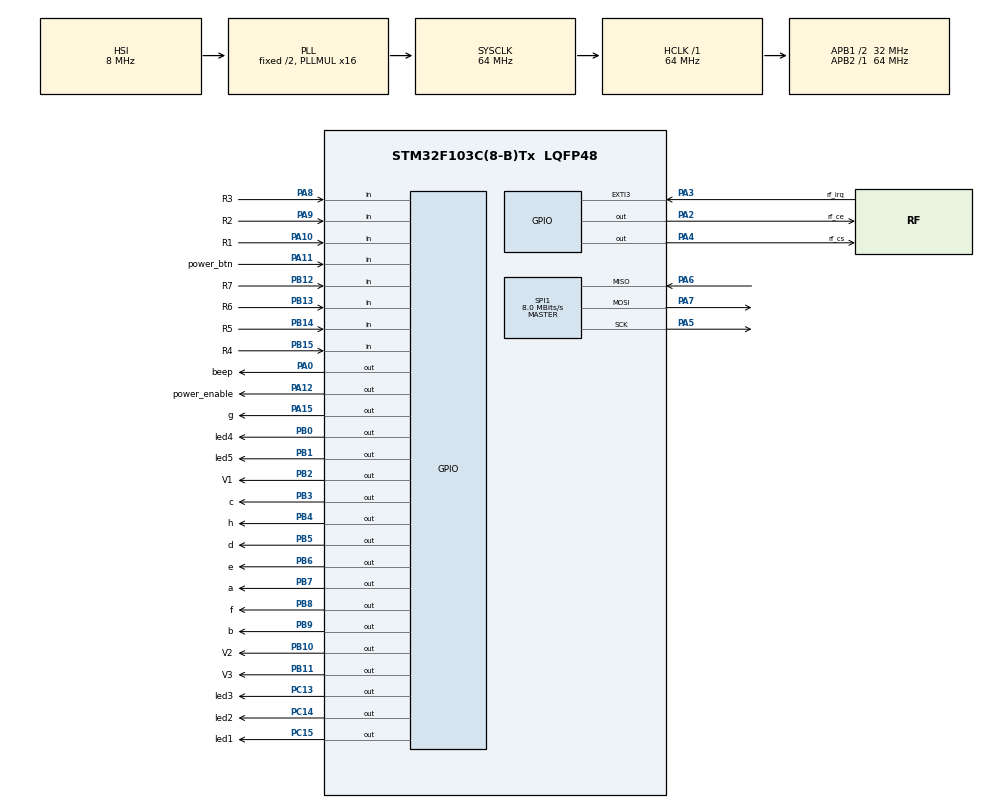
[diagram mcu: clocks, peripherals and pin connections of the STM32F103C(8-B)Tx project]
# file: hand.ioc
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Mcu.Family=STM32F1
Mcu.Name=STM32F103C(8-B)Tx
Mcu.Package=LQFP48
NVIC.EXTI3_IRQn=true\:0\:0\:false\:false\:true
NVIC.PriorityGroup=NVIC_PRIORITYGROUP_4
NVIC.TIM1_UP_IRQn=true\:1\:0\:true\:false\:true
PA0-WKUP.GPIO_Label=beep
PA0-WKUP.Signal=GPIO_Output
PA10.GPIO_Label=R1
PA10.GPIO_PuPd=GPIO_PULLUP
PA10.Signal=GPIO_Input
PA11.GPIO_Label=power_btn
PA11.GPIO_PuPd=GPIO_NOPULL
PA11.Signal=GPIO_Input
PA12.GPIO_Label=power_enable
PA12.Signal=GPIO_Output
PA13.Mode=Serial_Wire
PA13.Signal=SYS_JTMS-SWDIO
PA14.Mode=Serial_Wire
PA14.Signal=SYS_JTCK-SWCLK
PA15.GPIO_Label=g
PA15.GPIO_ModeDefaultOutputPP=GPIO_MODE_OUTPUT_OD
PA15.GPIO_Speed=GPIO_SPEED_FREQ_HIGH
PA15.PinState=GPIO_PIN_SET
PA15.Signal=GPIO_Output
PA2.GPIO_Label=rf_ce
PA2.GPIO_Speed=GPIO_SPEED_FREQ_HIGH
PA2.PinState=GPIO_PIN_SET
PA2.Signal=GPIO_Output
PA3.GPIO_Label=rf_irq
PA3.Signal=GPXTI3
PA4.GPIO_Label=rf_cs
PA4.GPIO_Speed=GPIO_SPEED_FREQ_HIGH
PA4.PinState=GPIO_PIN_SET
PA4.Signal=GPIO_Output
PA5.Mode=Full_Duplex_Master
PA5.Signal=SPI1_SCK
PA6.Mode=Full_Duplex_Master
PA6.Signal=SPI1_MISO
PA7.Mode=Full_Duplex_Master
PA7.Signal=SPI1_MOSI
PA8.GPIO_Label=R3
PA8.GPIO_PuPd=GPIO_PULLUP
PA8.Signal=GPIO_Input
PA9.GPIO_Label=R2
PA9.GPIO_PuPd=GPIO_PULLUP
PA9.Signal=GPIO_Input
PB0.GPIO_Label=led4
PB0.GPIO_ModeDefaultOutputPP=GPIO_MODE_OUTPUT_PP
PB0.GPIO_Speed=GPIO_SPEED_FREQ_HIGH
PB0.PinState=GPIO_PIN_SET
PB0.Signal=GPIO_Output
PB1.GPIO_Label=led5
PB1.GPIO_Speed=GPIO_SPEED_FREQ_HIGH
PB1.PinState=GPIO_PIN_SET
PB1.Signal=GPIO_Output
PB10.GPIO_Label=V2
PB10.GPIO_Speed=GPIO_SPEED_FREQ_HIGH
PB10.PinState=GPIO_PIN_SET
PB10.Signal=GPIO_Output
PB11.GPIO_Label=V3
PB11.GPIO_Speed=GPIO_SPEED_FREQ_HIGH
PB11.PinState=GPIO_PIN_SET
PB11.Signal=GPIO_Output
PB12.GPIO_Label=R7
PB12.GPIO_PuPd=GPIO_PULLUP
PB12.Signal=GPIO_Input
PB13.GPIO_Label=R6
PB13.GPIO_PuPd=GPIO_PULLUP
PB13.Signal=GPIO_Input
PB14.GPIO_Label=R5
PB14.GPIO_PuPd=GPIO_PULLUP
PB14.Signal=GPIO_Input
PB15.GPIO_Label=R4
PB15.GPIO_PuPd=GPIO_PULLUP
PB15.Signal=GPIO_Input
PB2.GPIO_Label=V1
PB2.GPIO_Speed=GPIO_SPEED_FREQ_HIGH
PB2.PinState=GPIO_PIN_SET
PB2.Signal=GPIO_Output
PB3.GPIO_Label=c
PB3.GPIO_ModeDefaultOutputPP=GPIO_MODE_OUTPUT_OD
PB3.GPIO_Speed=GPIO_SPEED_FREQ_HIGH
PB3.PinState=GPIO_PIN_SET
PB3.Signal=GPIO_Output
PB4.GPIO_Label=h
PB4.GPIO_ModeDefaultOutputPP=GPIO_MODE_OUTPUT_OD
PB4.GPIO_Speed=GPIO_SPEED_FREQ_HIGH
PB4.PinState=GPIO_PIN_SET
PB4.Signal=GPIO_Output
PB5.GPIO_Label=d
PB5.GPIO_ModeDefaultOutputPP=GPIO_MODE_OUTPUT_OD
PB5.GPIO_Speed=GPIO_SPEED_FREQ_HIGH
PB5.PinState=GPIO_PIN_SET
PB5.Signal=GPIO_Output
PB6.GPIO_Label=e
PB6.GPIO_ModeDefaultOutputPP=GPIO_MODE_OUTPUT_OD
PB6.GPIO_Speed=GPIO_SPEED_FREQ_HIGH
PB6.PinState=GPIO_PIN_SET
PB6.Signal=GPIO_Output
PB7.GPIO_Label=a
PB7.GPIO_ModeDefaultOutputPP=GPIO_MODE_OUTPUT_OD
PB7.GPIO_Speed=GPIO_SPEED_FREQ_HIGH
PB7.PinState=GPIO_PIN_SET
PB7.Signal=GPIO_Output
PB8.GPIO_Label=f
PB8.GPIO_ModeDefaultOutputPP=GPIO_MODE_OUTPUT_OD
PB8.GPIO_Speed=GPIO_SPEED_FREQ_HIGH
PB8.PinState=GPIO_PIN_SET
PB8.Signal=GPIO_Output
PB9.GPIO_Label=b
PB9.GPIO_ModeDefaultOutputPP=GPIO_MODE_OUTPUT_OD
PB9.GPIO_Speed=GPIO_SPEED_FREQ_HIGH
PB9.PinState=GPIO_PIN_SET
PB9.Signal=GPIO_Output
PC13-TAMPER-RTC.GPIO_Label=led3
PC13-TAMPER-RTC.GPIO_ModeDefaultOutputPP=GPIO_MODE_OUTPUT_PP
PC13-TAMPER-RTC.GPIO_Speed=GPIO_SPEED_FREQ_HIGH
PC13-TAMPER-RTC.PinState=GPIO_PIN_SET
PC13-TAMPER-RTC.Signal=GPIO_Output
PC14-OSC32_IN.GPIO_Label=led2
PC14-OSC32_IN.GPIO_ModeDefaultOutputPP=GPIO_MODE_OUTPUT_PP
PC14-OSC32_IN.GPIO_Speed=GPIO_SPEED_FREQ_HIGH
PC14-OSC32_IN.PinState=GPIO_PIN_SET
PC14-OSC32_IN.Signal=GPIO_Output
PC15-OSC32_OUT.GPIO_Label=led1
PC15-OSC32_OUT.GPIO_ModeDefaultOutputPP=GPIO_MODE_OUTPUT_PP
PC15-OSC32_OUT.GPIO_Speed=GPIO_SPEED_FREQ_HIGH
PC15-OSC32_OUT.PinState=GPIO_PIN_SET
PC15-OSC32_OUT.Signal=GPIO_Output
ProjectManager.HeapSize=0x200
ProjectManager.StackSize=0x400
ProjectManager.TargetToolchain=MDK-ARM V5
RCC.AHBFreq_Value=64000000
RCC.APB1CLKDivider=RCC_HCLK_DIV2
RCC.APB1Freq_Value=32000000
RCC.APB1TimFreq_Value=64000000
RCC.APB2Freq_Value=64000000
RCC.APB2TimFreq_Value=64000000
RCC.HCLKFreq_Value=64000000
RCC.PLLMUL=RCC_PLL_MUL16
RCC.SYSCLKFreq_VALUE=64000000
RCC.SYSCLKSource=RCC_SYSCLKSOURCE_PLLCLK
RCC.USBFreq_Value=64000000
SPI1.BaudRatePrescaler=SPI_BAUDRATEPRESCALER_8
SPI1.CalculateBaudRate=8.0 MBits/s
SPI1.Direction=SPI_DIRECTION_2LINES
SPI1.Mode=SPI_MODE_MASTER
SPI1.VirtualType=VM_MASTER
TIM1.ClockDivision=TIM_CLOCKDIVISION_DIV4
TIM1.Period=10000
TIM1.Prescaler=16
VP_TIM1_VS_ClockSourceINT.Mode=Internal
board=hand

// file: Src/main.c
/**
  ******************************************************************************
  * File Name          : main.c
  * Description        : Main program body
  ******************************************************************************
  ** This notice applies to any and all portions of this file
  * that are not between comment pairs USER CODE BEGIN and
  * USER CODE END. Other portions of this file, whether
  * inserted by the user or by software development tools
  * are owned by their respective copyright owners.
  *
  * COPYRIGHT(c) 2017 STMicroelectronics
  *
  * Redistribution and use in source and binary forms, with or without modification,
  * are permitted provided that the following conditions are met:
  *   1. Redistributions of source code must retain the above copyright notice,
  *      this list of conditions and the following disclaimer.
  *   2. Redistributions in binary form must reproduce the above copyright notice,
  *      this list of conditions and the following disclaimer in the documentation
  *      and/or other materials provided with the distribution.
  *   3. Neither the name of STMicroelectronics nor the names of its contributors
  *      may be used to endorse or promote products derived from this software
  *      without specific prior written permission.
  *
  * THIS SOFTWARE IS PROVIDED BY THE COPYRIGHT HOLDERS AND CONTRIBUTORS "AS IS"
  * AND ANY EXPRESS OR IMPLIED WARRANTIES, INCLUDING, BUT NOT LIMITED TO, THE
  * IMPLIED WARRANTIES OF MERCHANTABILITY AND FITNESS FOR A PARTICULAR PURPOSE ARE
  * DISCLAIMED. IN NO EVENT SHALL THE COPYRIGHT HOLDER OR CONTRIBUTORS BE LIABLE
  * FOR ANY DIRECT, INDIRECT, INCIDENTAL, SPECIAL, EXEMPLARY, OR CONSEQUENTIAL
  * DAMAGES (INCLUDING, BUT NOT LIMITED TO, PROCUREMENT OF SUBSTITUTE GOODS OR
  * SERVICES; LOSS OF USE, DATA, OR PROFITS; OR BUSINESS INTERRUPTION) HOWEVER
  * CAUSED AND ON ANY THEORY OF LIABILITY, WHETHER IN CONTRACT, STRICT LIABILITY,
  * OR TORT (INCLUDING NEGLIGENCE OR OTHERWISE) ARISING IN ANY WAY OUT OF THE USE
  * OF THIS SOFTWARE, EVEN IF ADVISED OF THE POSSIBILITY OF SUCH DAMAGE.
  *
  ******************************************************************************
  */
#include "main.h"
#include "stm32f1xx_hal.h"

/* USER CODE BEGIN Includes */
#include "btn_display.h"
#include "bsp_spi_nrf.h"
#include "main_stat.h"
/* USER CODE END Includes */

SPI_HandleTypeDef hspi1;

TIM_HandleTypeDef htim1;

/* USER CODE BEGIN PV */
/* Private variables ---------------------------------------------------------*/

/* USER CODE END PV */

void SystemClock_Config(void);
static void MX_GPIO_Init(void);
static void MX_TIM1_Init(void);
static void MX_SPI1_Init(void);

/* USER CODE BEGIN PFP */
/* Private function prototypes -----------------------------------------------*/

/* USER CODE END PFP */

/* USER CODE BEGIN 0 */
extern void main_stat_poll(void);
extern void rf_send(void *pdata,uint8_t len);
uint8_t data[10] = {1,2,3,4,5,6,7,8,9,0};
extern unsigned char display_code[5];
/* USER CODE END 0 */

int main(void)
{

  /* USER CODE BEGIN 1 */
	int i = 0;
  /* USER CODE END 1 */

  /* MCU Configuration----------------------------------------------------------*/

  /* Reset of all peripherals, Initializes the Flash interface and the Systick. */
  HAL_Init();

  /* Configure the system clock */
  SystemClock_Config();

  /* Initialize all configured peripherals */
  MX_GPIO_Init();
  MX_TIM1_Init();
  MX_SPI1_Init();

  /* USER CODE BEGIN 2 */
	HAL_GPIO_WritePin(power_enable_GPIO_Port,power_enable_Pin,GPIO_PIN_SET);

	read_password();

	beep();

	HAL_TIM_Base_Start_IT(&htim1);

	if(NRF_Check() != SUCCESS)
	{
		main_stat = rf_error;
	}
	else
		main_stat = power_on;

  /* USER CODE END 2 */

  /* Infinite loop */
  while (1)
  {

  /* USER CODE BEGIN 3 */
		btn_handle();
		main_stat_poll();
		//NRF_go_RX_mode();
  }
  /* USER CODE END 3 */

}

/** System Clock Configuration
*/
void SystemClock_Config(void)
{

  RCC_OscInitTypeDef RCC_OscInitStruct;
  RCC_ClkInitTypeDef RCC_ClkInitStruct;

    /**Initializes the CPU, AHB and APB busses clocks
    */
  RCC_OscInitStruct.OscillatorType = RCC_OSCILLATORTYPE_HSI;
  RCC_OscInitStruct.HSIState = RCC_HSI_ON;
  RCC_OscInitStruct.HSICalibrationValue = 16;
  RCC_OscInitStruct.PLL.PLLState = RCC_PLL_ON;
  RCC_OscInitStruct.PLL.PLLSource = RCC_PLLSOURCE_HSI_DIV2;
  RCC_OscInitStruct.PLL.PLLMUL = RCC_PLL_MUL16;
  if (HAL_RCC_OscConfig(&RCC_OscInitStruct) != HAL_OK)
  {
    _Error_Handler(__FILE__, __LINE__);
  }

    /**Initializes the CPU, AHB and APB busses clocks
    */
  RCC_ClkInitStruct.ClockType = RCC_CLOCKTYPE_HCLK|RCC_CLOCKTYPE_SYSCLK
                              |RCC_CLOCKTYPE_PCLK1|RCC_CLOCKTYPE_PCLK2;
  RCC_ClkInitStruct.SYSCLKSource = RCC_SYSCLKSOURCE_PLLCLK;
  RCC_ClkInitStruct.AHBCLKDivider = RCC_SYSCLK_DIV1;
  RCC_ClkInitStruct.APB1CLKDivider = RCC_HCLK_DIV2;
  RCC_ClkInitStruct.APB2CLKDivider = RCC_HCLK_DIV1;

  if (HAL_RCC_ClockConfig(&RCC_ClkInitStruct, FLASH_LATENCY_2) != HAL_OK)
  {
    _Error_Handler(__FILE__, __LINE__);
  }

    /**Configure the Systick interrupt time
    */
  HAL_SYSTICK_Config(HAL_RCC_GetHCLKFreq()/1000);

    /**Configure the Systick
    */
  HAL_SYSTICK_CLKSourceConfig(SYSTICK_CLKSOURCE_HCLK);

  /* SysTick_IRQn interrupt configuration */
  HAL_NVIC_SetPriority(SysTick_IRQn, 0, 0);
}

/* SPI1 init function */
static void MX_SPI1_Init(void)
{

  hspi1.Instance = SPI1;
  hspi1.Init.Mode = SPI_MODE_MASTER;
  hspi1.Init.Direction = SPI_DIRECTION_2LINES;
  hspi1.Init.DataSize = SPI_DATASIZE_8BIT;
  hspi1.Init.CLKPolarity = SPI_POLARITY_LOW;
  hspi1.Init.CLKPhase = SPI_PHASE_1EDGE;
  hspi1.Init.NSS = SPI_NSS_SOFT;
  hspi1.Init.BaudRatePrescaler = SPI_BAUDRATEPRESCALER_8;
  hspi1.Init.FirstBit = SPI_FIRSTBIT_MSB;
  hspi1.Init.TIMode = SPI_TIMODE_DISABLE;
  hspi1.Init.CRCCalculation = SPI_CRCCALCULATION_DISABLE;
  hspi1.Init.CRCPolynomial = 10;
  if (HAL_SPI_Init(&hspi1) != HAL_OK)
  {
    _Error_Handler(__FILE__, __LINE__);
  }

}

/* TIM1 init function */
static void MX_TIM1_Init(void)
{

  TIM_ClockConfigTypeDef sClockSourceConfig;
  TIM_MasterConfigTypeDef sMasterConfig;

  htim1.Instance = TIM1;
  htim1.Init.Prescaler = 64;
  htim1.Init.CounterMode = TIM_COUNTERMODE_UP;
  htim1.Init.Period = 2000;
  htim1.Init.ClockDivision = TIM_CLOCKDIVISION_DIV4;
  htim1.Init.RepetitionCounter = 0;
  if (HAL_TIM_Base_Init(&htim1) != HAL_OK)
  {
    _Error_Handler(__FILE__, __LINE__);
  }

  sClockSourceConfig.ClockSource = TIM_CLOCKSOURCE_INTERNAL;
  if (HAL_TIM_ConfigClockSource(&htim1, &sClockSourceConfig) != HAL_OK)
  {
    _Error_Handler(__FILE__, __LINE__);
  }

  sMasterConfig.MasterOutputTrigger = TIM_TRGO_RESET;
  sMasterConfig.MasterSlaveMode = TIM_MASTERSLAVEMODE_DISABLE;
  if (HAL_TIMEx_MasterConfigSynchronization(&htim1, &sMasterConfig) != HAL_OK)
  {
    _Error_Handler(__FILE__, __LINE__);
  }

}

/** Configure pins as
        * Analog
        * Input
        * Output
        * EVENT_OUT
        * EXTI
*/
static void MX_GPIO_Init(void)
{

  GPIO_InitTypeDef GPIO_InitStruct;

  /* GPIO Ports Clock Enable */
  __HAL_RCC_GPIOC_CLK_ENABLE();
  __HAL_RCC_GPIOA_CLK_ENABLE();
  __HAL_RCC_GPIOB_CLK_ENABLE();

  /*Configure GPIO pin Output Level */
  HAL_GPIO_WritePin(GPIOC, led3_Pin|led2_Pin|led1_Pin, GPIO_PIN_SET);

  /*Configure GPIO pin Output Level */
  HAL_GPIO_WritePin(GPIOA, beep_Pin|power_enable_Pin, GPIO_PIN_RESET);

  /*Configure GPIO pin Output Level */
  HAL_GPIO_WritePin(GPIOA, rf_ce_Pin|rf_cs_Pin|g_Pin, GPIO_PIN_SET);

  /*Configure GPIO pin Output Level */
  HAL_GPIO_WritePin(GPIOB, led4_Pin|led5_Pin|V1_Pin|V2_Pin
                          |V3_Pin|c_Pin|h_Pin|d_Pin
                          |e_Pin|a_Pin|f_Pin|b_Pin, GPIO_PIN_SET);

  /*Configure GPIO pins : led3_Pin led2_Pin led1_Pin */
  GPIO_InitStruct.Pin = led3_Pin|led2_Pin|led1_Pin;
  GPIO_InitStruct.Mode = GPIO_MODE_OUTPUT_PP;
  GPIO_InitStruct.Speed = GPIO_SPEED_FREQ_HIGH;
  HAL_GPIO_Init(GPIOC, &GPIO_InitStruct);

  /*Configure GPIO pins : beep_Pin power_enable_Pin */
  GPIO_InitStruct.Pin = beep_Pin|power_enable_Pin;
  GPIO_InitStruct.Mode = GPIO_MODE_OUTPUT_PP;
  GPIO_InitStruct.Speed = GPIO_SPEED_FREQ_LOW;
  HAL_GPIO_Init(GPIOA, &GPIO_InitStruct);

  /*Configure GPIO pins : rf_ce_Pin rf_cs_Pin */
  GPIO_InitStruct.Pin = rf_ce_Pin|rf_cs_Pin;
  GPIO_InitStruct.Mode = GPIO_MODE_OUTPUT_PP;
  GPIO_InitStruct.Speed = GPIO_SPEED_FREQ_HIGH;
  HAL_GPIO_Init(GPIOA, &GPIO_InitStruct);

  /*Configure GPIO pin : rf_irq_Pin */
  GPIO_InitStruct.Pin = rf_irq_Pin;
  GPIO_InitStruct.Mode = GPIO_MODE_IT_FALLING;
  GPIO_InitStruct.Pull = GPIO_PULLUP;
  HAL_GPIO_Init(rf_irq_GPIO_Port, &GPIO_InitStruct);

  /*Configure GPIO pins : led4_Pin led5_Pin V1_Pin V2_Pin
                           V3_Pin */
  GPIO_InitStruct.Pin = led4_Pin|led5_Pin|V1_Pin|V2_Pin
                          |V3_Pin;
  GPIO_InitStruct.Mode = GPIO_MODE_OUTPUT_PP;
  GPIO_InitStruct.Speed = GPIO_SPEED_FREQ_HIGH;
  HAL_GPIO_Init(GPIOB, &GPIO_InitStruct);

  /*Configure GPIO pins : R7_Pin R6_Pin R5_Pin R4_Pin */
  GPIO_InitStruct.Pin = R7_Pin|R6_Pin|R5_Pin|R4_Pin;
  GPIO_InitStruct.Mode = GPIO_MODE_INPUT;
  GPIO_InitStruct.Pull = GPIO_PULLUP;
  HAL_GPIO_Init(GPIOB, &GPIO_InitStruct);

  /*Configure GPIO pins : R3_Pin R2_Pin R1_Pin */
  GPIO_InitStruct.Pin = R3_Pin|R2_Pin|R1_Pin;
  GPIO_InitStruct.Mode = GPIO_MODE_INPUT;
  GPIO_InitStruct.Pull = GPIO_PULLUP;
  HAL_GPIO_Init(GPIOA, &GPIO_InitStruct);

  /*Configure GPIO pin : power_btn_Pin */
  GPIO_InitStruct.Pin = power_btn_Pin;
  GPIO_InitStruct.Mode = GPIO_MODE_INPUT;
  GPIO_InitStruct.Pull = GPIO_NOPULL;
  HAL_GPIO_Init(power_btn_GPIO_Port, &GPIO_InitStruct);

  /*Configure GPIO pin : g_Pin */
  GPIO_InitStruct.Pin = g_Pin;
  GPIO_InitStruct.Mode = GPIO_MODE_OUTPUT_OD;
  GPIO_InitStruct.Speed = GPIO_SPEED_FREQ_HIGH;
  HAL_GPIO_Init(g_GPIO_Port, &GPIO_InitStruct);

  /*Configure GPIO pins : c_Pin h_Pin d_Pin e_Pin
                           a_Pin f_Pin b_Pin */
  GPIO_InitStruct.Pin = c_Pin|h_Pin|d_Pin|e_Pin
                          |a_Pin|f_Pin|b_Pin;
  GPIO_InitStruct.Mode = GPIO_MODE_OUTPUT_OD;
  GPIO_InitStruct.Speed = GPIO_SPEED_FREQ_HIGH;
  HAL_GPIO_Init(GPIOB, &GPIO_InitStruct);

  /* EXTI interrupt init*/
  HAL_NVIC_SetPriority(EXTI3_IRQn, 0, 0);
  HAL_NVIC_EnableIRQ(EXTI3_IRQn);

}

void _Error_Handler(char * file, int line)
{
  while(1)
  {
  }
}

/************************ (C) COPYRIGHT STMicroelectronics *****END OF FILE****/
